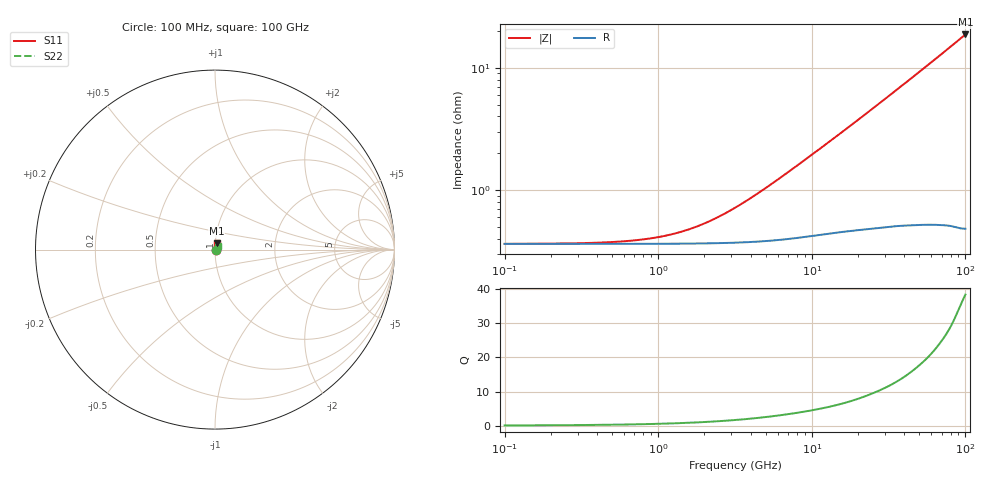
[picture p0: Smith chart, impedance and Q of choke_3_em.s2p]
#  Hz  S  RI  R  50
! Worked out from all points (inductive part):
!   1000 points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, 100 MHz to 100 GHz, reference 50 ohm
!   read as 1/Y11, port 2 shorted: L = 30.3 pH near 6.2 GHz
!   highest Q = 38.5 at 100 GHz (marker M1), where L = 29.7 pH
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1e8  0.00363 4.8e-05  0.9964 -0.000339  0.9964 -0.000349  0.00363 3.83e-05
7e8  0.00364 0.000335  0.9964 -0.00237  0.9964 -0.00244  0.00364 0.000268
1.3e9  0.00365 0.000622  0.9963 -0.00441  0.9963 -0.00453  0.00365 0.000496
2.6e9  0.00369 0.00124  0.9963 -0.0088  0.9963 -0.00905  0.0037 0.000984
4.3e9  0.00379 0.00202  0.9961 -0.0145  0.9961 -0.0149  0.00382 0.0016
8.1e9  0.0041 0.00362  0.9955 -0.0271  0.9955 -0.0279  0.00419 0.00283
1.03e10  0.0043 0.00447  0.9951 -0.0343  0.9951 -0.0353  0.00443 0.00345
1.33e10  0.00453 0.00556  0.9946 -0.044  0.9945 -0.0453  0.00474 0.00423
1.68e10  0.00476 0.00677  0.9938 -0.0554  0.9937 -0.057  0.00509 0.00509
2.05e10  0.00495 0.00805  0.9929 -0.0673  0.9928 -0.0693  0.00543 0.00597
2.46e10  0.00515 0.00945  0.9918 -0.0806  0.9916 -0.0829  0.00583 0.00695
2.89e10  0.00535 0.0109  0.9904 -0.0944  0.9901 -0.0972  0.00628 0.00795
3.34e10  0.00556 0.0124  0.9887 -0.1089  0.9884 -0.1121  0.00679 0.00898
3.72e10  0.00573 0.0137  0.9872 -0.1211  0.9868 -0.1246  0.00725 0.00982
4.13e10  0.00591 0.0151  0.9854 -0.1342  0.9849 -0.1382  0.00777 0.0107
5.01e10  0.0063 0.018  0.981 -0.1623  0.9801 -0.1671  0.009 0.0126
5.8e10  0.00666 0.0206  0.9763 -0.1874  0.9752 -0.1928  0.0102 0.0141
6.67e10  0.00705 0.0235  0.9704 -0.2148  0.969 -0.2211  0.0118 0.0157
7.49e10  0.00744 0.0262  0.9641 -0.2405  0.9623 -0.2475  0.0133 0.0172
8.34e10  0.00785 0.0289  0.957 -0.267  0.9548 -0.2747  0.0151 0.0185
9.26e10  0.0083 0.0319  0.9485 -0.2954  0.9457 -0.3038  0.0171 0.0198
1e11  0.0087 0.0343  0.9408 -0.3179  0.9377 -0.3269  0.0188 0.0207
